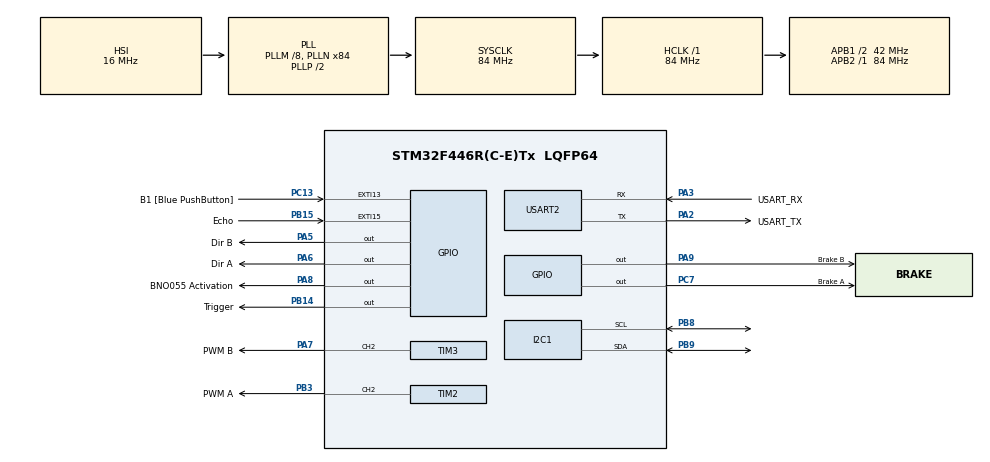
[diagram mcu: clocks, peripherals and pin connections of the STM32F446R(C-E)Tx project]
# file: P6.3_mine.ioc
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Mcu.Family=STM32F4
Mcu.Name=STM32F446R(C-E)Tx
Mcu.Package=LQFP64
NVIC.EXTI15_10_IRQn=true\:0\:0\:false\:false\:true\:true\:true\:true
NVIC.PriorityGroup=NVIC_PRIORITYGROUP_0
NVIC.TIM7_IRQn=true\:0\:0\:false\:false\:true\:true\:true\:true
PA13.GPIO_Label=TMS
PA13.Mode=Serial_Wire
PA13.Signal=SYS_JTMS-SWDIO
PA14.GPIO_Label=TCK
PA14.Mode=Serial_Wire
PA14.Signal=SYS_JTCK-SWCLK
PA2.GPIO_Label=USART_TX
PA2.Mode=Asynchronous
PA2.Signal=USART2_TX
PA3.GPIO_Label=USART_RX
PA3.Mode=Asynchronous
PA3.Signal=USART2_RX
PA5.GPIO_Label=Dir B
PA5.GPIO_Speed=GPIO_SPEED_FREQ_HIGH
PA5.PinState=GPIO_PIN_RESET
PA5.Signal=GPIO_Output
PA6.GPIO_Label=Dir A
PA6.GPIO_Speed=GPIO_SPEED_FREQ_HIGH
PA6.Signal=GPIO_Output
PA7.GPIO_Label=PWM B
PA7.Signal=S_TIM3_CH2
PA8.GPIO_Label=BNO055 Activation
PA8.Signal=GPIO_Output
PA9.GPIO_Label=Brake B
PA9.Signal=GPIO_Output
PB14.GPIO_Label=Trigger
PB14.Signal=GPIO_Output
PB15.GPIO_Label=Echo
PB15.GPIO_ModeDefaultEXTI=GPIO_MODE_IT_RISING_FALLING
PB15.Signal=GPXTI15
PB3.GPIO_Label=PWM A
PB3.Signal=S_TIM2_CH2
PB8.Mode=I2C
PB8.Signal=I2C1_SCL
PB9.Mode=I2C
PB9.Signal=I2C1_SDA
PC13.GPIO_Label=B1 [Blue PushButton]
PC13.GPIO_ModeDefaultEXTI=GPIO_MODE_IT_FALLING
PC13.Signal=GPXTI13
PC14-OSC32_IN.Mode=LSE-External-Oscillator
PC14-OSC32_IN.Signal=RCC_OSC32_IN
PC15-OSC32_OUT.Mode=LSE-External-Oscillator
PC15-OSC32_OUT.Signal=RCC_OSC32_OUT
PC7.GPIO_Label=Brake A
PC7.GPIO_Speed=GPIO_SPEED_FREQ_HIGH
PC7.Signal=GPIO_Output
PH0-OSC_IN.Mode=HSE-External-Oscillator
PH0-OSC_IN.Signal=RCC_OSC_IN
PH1-OSC_OUT.Mode=HSE-External-Oscillator
PH1-OSC_OUT.Signal=RCC_OSC_OUT
ProjectManager.HeapSize=0x200
ProjectManager.StackSize=0x400
ProjectManager.TargetToolchain=STM32CubeIDE
RCC.48MHZClocksFreq_Value=84000000
RCC.AHBFreq_Value=84000000
RCC.APB1CLKDivider=RCC_HCLK_DIV2
RCC.APB1Freq_Value=42000000
RCC.APB1TimFreq_Value=84000000
RCC.APB2Freq_Value=84000000
RCC.APB2TimFreq_Value=84000000
RCC.CortexFreq_Value=84000000
RCC.FLatency-AdvancedSettings=FLASH_LATENCY_2
RCC.HCLKFreq_Value=84000000
RCC.HSE_VALUE=8000000
RCC.HSI_VALUE=16000000
RCC.PLLM=8
RCC.PLLN=84
RCC.SYSCLKFreq_VALUE=84000000
RCC.SYSCLKSource=RCC_SYSCLKSOURCE_PLLCLK
RCC.USBFreq_Value=84000000
RCC.VCOOutputFreq_Value=168000000
SH.S_TIM2_CH2.0=TIM2_CH2,PWM Generation2 CH2
SH.S_TIM3_CH2.0=TIM3_CH2,PWM Generation2 CH2
TIM10.Period=65535
TIM10.Prescaler=83
TIM2.Channel-PWM\ Generation2\ CH2=TIM_CHANNEL_2
TIM2.Period=255
TIM2.Prescaler=83
TIM2.Pulse-PWM\ Generation2\ CH2=200
TIM3.Channel-PWM\ Generation2\ CH2=TIM_CHANNEL_2
TIM3.Period=255
TIM3.Prescaler=83
TIM3.Pulse-PWM\ Generation2\ CH2=200
TIM6.Prescaler=83
TIM7.Period=999
TIM7.Prescaler=8399
USART2.VirtualMode=VM_ASYNC
VP_TIM10_VS_ClockSourceINT.Mode=Enable_Timer
VP_TIM6_VS_ClockSourceINT.Mode=Enable_Timer
VP_TIM7_VS_ClockSourceINT.Mode=Enable_Timer
board=NUCLEO-F446RE

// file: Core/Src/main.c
/* USER CODE BEGIN Header */
/**
 ******************************************************************************
 * @file           : main.c
 * @brief          : Main program body
 ******************************************************************************
 * @attention
 *
 * Copyright (c) 2025 STMicroelectronics.
 * All rights reserved.
 *
 * This software is licensed under terms that can be found in the LICENSE file
 * in the root directory of this software component.
 * If no LICENSE file comes with this software, it is provided AS-IS.
 *
 ******************************************************************************
 */
/* USER CODE END Header */
#include "main.h"

/* USER CODE BEGIN Includes */
#include "gyro.h"
#include "motor.h"
#include "movement.h"
#include <stdio.h>
#include <stdbool.h>
/* USER CODE END Includes */

I2C_HandleTypeDef hi2c1;

TIM_HandleTypeDef htim2;
TIM_HandleTypeDef htim3;
TIM_HandleTypeDef htim6;
TIM_HandleTypeDef htim7;
TIM_HandleTypeDef htim10;

UART_HandleTypeDef huart2;

/* USER CODE BEGIN PV */
volatile uint32_t echo_start = 0;
volatile uint32_t echo_end = 0;
volatile uint32_t echo_duration = 0;
volatile uint8_t state = straight;
uint32_t trigger_time = 0;
float yaw_offset = 0;
Motor buggy;
IMU_Handle_t imu_handle;
uint8_t message[60] = { '\0' };

/* USER CODE END PV */

void SystemClock_Config(void);
static void MX_GPIO_Init(void);
static void MX_USART2_UART_Init(void);
static void MX_I2C1_Init(void);
static void MX_TIM2_Init(void);
static void MX_TIM3_Init(void);
static void MX_TIM10_Init(void);
static void MX_TIM6_Init(void);
static void MX_TIM7_Init(void);

int main(void)
{

  /* MCU Configuration--------------------------------------------------------*/

  /* Reset of all peripherals, Initializes the Flash interface and the Systick. */
  HAL_Init();

  /* Configure the system clock */
  SystemClock_Config();

  /* Initialize all configured peripherals */
  MX_GPIO_Init();
  MX_USART2_UART_Init();
  MX_I2C1_Init();
  MX_TIM2_Init();
  MX_TIM3_Init();
  MX_TIM10_Init();
  MX_TIM6_Init();
  MX_TIM7_Init();
  /* USER CODE BEGIN 2 */

	/*
	 * IMU_Handle
	 * _________________
	 *
	 * Our IMU Handle contains
	 * • I2C_Handle_t i2c_connect 		-	For establishing BNO055 board connection
	 * • GPIO_Handle_t activation_pin	-	Activation Pin sets the BNO055 sensor active
	 * • IMU_Config_t imu_config		-	The configuration for setting BNO055 to IMU mode
	 *
	 * */
	imuInit(&imu_handle);

	/*
	 * Calibration
	 * _______________
	 *
	 * As far as I have understood calibrat
	 *
	 * */
	uint8_t cal_status = 0;
	uint8_t cal_attempts = 0;

	//Buggy configuration
	AutoConf(&buggy);
	Brake(&buggy);
	HAL_TIM_PWM_Start(&htim2, TIM_CHANNEL_2); // PA3
	HAL_TIM_PWM_Start(&htim3, TIM_CHANNEL_2); // PA7

	//BNO055 Initialization
	bno055_init(&imu_handle);

	uint8_t chip_id = 0;
	bno055_readData(&imu_handle.i2c_connect, BNO055_CHIP_ID_REG, &chip_id, 1);
	if(chip_id != BNO055_CHIP_ID_VAL) {
		sprintf(message, "BNO055 not found! ID: 0x%02X\r\n", chip_id);
		HAL_UART_Transmit(&huart2, message, strlen(message), 100);
		Error_Handler();
	} else {
		sprintf(message, "BNO055 detected! ID: 0xA0\r\n");
		HAL_UART_Transmit(&huart2, message, strlen(message), 100);
	}

	//WIR MUESSEN ERSTMAL BIS HIER KOMMEN ... !
	//Geschafft - problem: activation pin war nicht eingestellt in IOC

	/*
	 * Sensor Calibration
	 * ___________________
	 *
	 * • This loop runs until each sensor is calibrated.
	 * • A sensor in the calibration register takes two bits.
	 * • A sensor is calibrated when value is "0b11"
	 * • Calibration values can change during runtime
	 * •
	 */

	/*
	 * Depending upon mode (IMU OR NDOF) we should check CALIB_STAT register
	 * accordingly.
	 *
	 * • If mode is NDOF, then we need cal_status 0xFF
	 * • If mode is IMU, then we need cal_status 0x3C
	 *
	 * For now I will hardcore for IMU mode
	 * */
	/*
	while(cal_status != 0x3c) {	// you can add " && cal_attempts++ < 20" for timeout
		cal_status = getCal(&imu_handle);
		sprintf(message, "Calibration: Sys=%d G=%d A=%d M=%d\r\n",
				(cal_status >> 6) & 0x03,  // System
				(cal_status >> 4) & 0x03,  // Gyro
				(cal_status >> 2) & 0x03,  // Accel
				cal_status & 0x03);        // Mag
		HAL_UART_Transmit(&huart2, message, strlen(message), 100);
		HAL_Delay(500);
	}

	sprintf(message, "Calibrated");
	HAL_UART_Transmit(&huart2, message, strlen(message), 100);
	*/

	//DELAY BEFORE AUTO INIT
	HAL_Delay(10000);

	//Buggy initialization
	AutoInit(&buggy);

	//Print initial yaw offset which is actually supposed to be 0°
	sprintf(message, "init yaw offset: %.1f", yaw_offset);
	HAL_UART_Transmit(&huart2, message, sizeof(message), 100);
	HAL_Delay(1000);

	//Initialize Ultrasonic Trigger Pin to LOW and release buggy
	HAL_GPIO_WritePin(Trigger_GPIO_Port, Trigger_Pin, GPIO_PIN_RESET);
	Release(&buggy);

	HAL_TIM_Base_Start_IT(&htim7);	//uncomment !
  /* USER CODE END 2 */

  /* Infinite loop */
  /* USER CODE BEGIN WHILE */
	while (1) {

		/*
		 * P6.1	-	Drive Straight
		 * */
		//DriveStraight(10000);

		/*
		 * P6.2	-	Drive Rectangle
		 * */
		//DriveRectangle();

		/*
		 * P6.3	-	Maneuver state machine
		*/
		switch (state) {
		case straight:
			if (htim7.State != HAL_TIM_STATE_BUSY) {
				Release(&buggy);	//might have to remove line
				HAL_TIM_Base_Start_IT(&htim7);
			}
			UpdateDirection(&buggy);
			HAL_Delay(50);
			break;

		case wait_for_echo_high:
		case wait_for_echo_low:
			if(HAL_GetTick() - trigger_time > 100){
				state = straight;
			}
			break;

		case measurement_done:
			echo_duration = echo_end - echo_start;
			float distance = (echo_duration * 0.0343f) / 2.0f;
			if (distance < 30.0f) {
				Brake(&buggy);
				state = maneuver;
			}
			else { state = straight; }
			break;

		case maneuver:
			TurnRight90();
			yaw_offset += 90;
			DriveStraight(3000);
			TurnLeft90();
			yaw_offset -= 90;
			HAL_TIM_Base_Start_IT(&htim7);
			HAL_Delay(100);
			//Release(&buggy);
			state = straight;
			break;
		}

    /* USER CODE END WHILE */

	}
}

void SystemClock_Config(void)
{
  RCC_OscInitTypeDef RCC_OscInitStruct = {0};
  RCC_ClkInitTypeDef RCC_ClkInitStruct = {0};

  /** Configure the main internal regulator output voltage
  */
  __HAL_RCC_PWR_CLK_ENABLE();
  __HAL_PWR_VOLTAGESCALING_CONFIG(PWR_REGULATOR_VOLTAGE_SCALE3);

  /** Initializes the RCC Oscillators according to the specified parameters
  * in the RCC_OscInitTypeDef structure.
  */
  RCC_OscInitStruct.OscillatorType = RCC_OSCILLATORTYPE_HSI;
  RCC_OscInitStruct.HSIState = RCC_HSI_ON;
  RCC_OscInitStruct.HSICalibrationValue = RCC_HSICALIBRATION_DEFAULT;
  RCC_OscInitStruct.PLL.PLLState = RCC_PLL_ON;
  RCC_OscInitStruct.PLL.PLLSource = RCC_PLLSOURCE_HSI;
  RCC_OscInitStruct.PLL.PLLM = 8;
  RCC_OscInitStruct.PLL.PLLN = 84;
  RCC_OscInitStruct.PLL.PLLP = RCC_PLLP_DIV2;
  RCC_OscInitStruct.PLL.PLLQ = 2;
  RCC_OscInitStruct.PLL.PLLR = 2;
  if (HAL_RCC_OscConfig(&RCC_OscInitStruct) != HAL_OK)
  {
    Error_Handler();
  }

  /** Initializes the CPU, AHB and APB buses clocks
  */
  RCC_ClkInitStruct.ClockType = RCC_CLOCKTYPE_HCLK|RCC_CLOCKTYPE_SYSCLK
                              |RCC_CLOCKTYPE_PCLK1|RCC_CLOCKTYPE_PCLK2;
  RCC_ClkInitStruct.SYSCLKSource = RCC_SYSCLKSOURCE_PLLCLK;
  RCC_ClkInitStruct.AHBCLKDivider = RCC_SYSCLK_DIV1;
  RCC_ClkInitStruct.APB1CLKDivider = RCC_HCLK_DIV2;
  RCC_ClkInitStruct.APB2CLKDivider = RCC_HCLK_DIV1;

  if (HAL_RCC_ClockConfig(&RCC_ClkInitStruct, FLASH_LATENCY_2) != HAL_OK)
  {
    Error_Handler();
  }
}

static void MX_I2C1_Init(void)
{

  hi2c1.Instance = I2C1;
  hi2c1.Init.ClockSpeed = 100000;
  hi2c1.Init.DutyCycle = I2C_DUTYCYCLE_2;
  hi2c1.Init.OwnAddress1 = 0;
  hi2c1.Init.AddressingMode = I2C_ADDRESSINGMODE_7BIT;
  hi2c1.Init.DualAddressMode = I2C_DUALADDRESS_DISABLE;
  hi2c1.Init.OwnAddress2 = 0;
  hi2c1.Init.GeneralCallMode = I2C_GENERALCALL_DISABLE;
  hi2c1.Init.NoStretchMode = I2C_NOSTRETCH_DISABLE;
  if (HAL_I2C_Init(&hi2c1) != HAL_OK)
  {
    Error_Handler();
  }

}

static void MX_TIM2_Init(void)
{

  TIM_MasterConfigTypeDef sMasterConfig = {0};
  TIM_OC_InitTypeDef sConfigOC = {0};

  htim2.Instance = TIM2;
  htim2.Init.Prescaler = 83;
  htim2.Init.CounterMode = TIM_COUNTERMODE_UP;
  htim2.Init.Period = 255;
  htim2.Init.ClockDivision = TIM_CLOCKDIVISION_DIV1;
  htim2.Init.AutoReloadPreload = TIM_AUTORELOAD_PRELOAD_DISABLE;
  if (HAL_TIM_PWM_Init(&htim2) != HAL_OK)
  {
    Error_Handler();
  }
  sMasterConfig.MasterOutputTrigger = TIM_TRGO_RESET;
  sMasterConfig.MasterSlaveMode = TIM_MASTERSLAVEMODE_DISABLE;
  if (HAL_TIMEx_MasterConfigSynchronization(&htim2, &sMasterConfig) != HAL_OK)
  {
    Error_Handler();
  }
  sConfigOC.OCMode = TIM_OCMODE_PWM1;
  sConfigOC.Pulse = 200;
  sConfigOC.OCPolarity = TIM_OCPOLARITY_HIGH;
  sConfigOC.OCFastMode = TIM_OCFAST_DISABLE;
  if (HAL_TIM_PWM_ConfigChannel(&htim2, &sConfigOC, TIM_CHANNEL_2) != HAL_OK)
  {
    Error_Handler();
  }
  HAL_TIM_MspPostInit(&htim2);

}

static void MX_TIM3_Init(void)
{

  TIM_MasterConfigTypeDef sMasterConfig = {0};
  TIM_OC_InitTypeDef sConfigOC = {0};

  htim3.Instance = TIM3;
  htim3.Init.Prescaler = 83;
  htim3.Init.CounterMode = TIM_COUNTERMODE_UP;
  htim3.Init.Period = 255;
  htim3.Init.ClockDivision = TIM_CLOCKDIVISION_DIV1;
  htim3.Init.AutoReloadPreload = TIM_AUTORELOAD_PRELOAD_DISABLE;
  if (HAL_TIM_PWM_Init(&htim3) != HAL_OK)
  {
    Error_Handler();
  }
  sMasterConfig.MasterOutputTrigger = TIM_TRGO_RESET;
  sMasterConfig.MasterSlaveMode = TIM_MASTERSLAVEMODE_DISABLE;
  if (HAL_TIMEx_MasterConfigSynchronization(&htim3, &sMasterConfig) != HAL_OK)
  {
    Error_Handler();
  }
  sConfigOC.OCMode = TIM_OCMODE_PWM1;
  sConfigOC.Pulse = 200;
  sConfigOC.OCPolarity = TIM_OCPOLARITY_HIGH;
  sConfigOC.OCFastMode = TIM_OCFAST_DISABLE;
  if (HAL_TIM_PWM_ConfigChannel(&htim3, &sConfigOC, TIM_CHANNEL_2) != HAL_OK)
  {
    Error_Handler();
  }
  HAL_TIM_MspPostInit(&htim3);

}

static void MX_TIM6_Init(void)
{

  TIM_MasterConfigTypeDef sMasterConfig = {0};

  htim6.Instance = TIM6;
  htim6.Init.Prescaler = 83;
  htim6.Init.CounterMode = TIM_COUNTERMODE_UP;
  htim6.Init.Period = 65535;
  htim6.Init.AutoReloadPreload = TIM_AUTORELOAD_PRELOAD_DISABLE;
  if (HAL_TIM_Base_Init(&htim6) != HAL_OK)
  {
    Error_Handler();
  }
  sMasterConfig.MasterOutputTrigger = TIM_TRGO_RESET;
  sMasterConfig.MasterSlaveMode = TIM_MASTERSLAVEMODE_DISABLE;
  if (HAL_TIMEx_MasterConfigSynchronization(&htim6, &sMasterConfig) != HAL_OK)
  {
    Error_Handler();
  }

}

static void MX_TIM7_Init(void)
{

  TIM_MasterConfigTypeDef sMasterConfig = {0};

  htim7.Instance = TIM7;
  htim7.Init.Prescaler = 8399;
  htim7.Init.CounterMode = TIM_COUNTERMODE_UP;
  htim7.Init.Period = 999;
  htim7.Init.AutoReloadPreload = TIM_AUTORELOAD_PRELOAD_DISABLE;
  if (HAL_TIM_Base_Init(&htim7) != HAL_OK)
  {
    Error_Handler();
  }
  sMasterConfig.MasterOutputTrigger = TIM_TRGO_RESET;
  sMasterConfig.MasterSlaveMode = TIM_MASTERSLAVEMODE_DISABLE;
  if (HAL_TIMEx_MasterConfigSynchronization(&htim7, &sMasterConfig) != HAL_OK)
  {
    Error_Handler();
  }

}

static void MX_TIM10_Init(void)
{

  htim10.Instance = TIM10;
  htim10.Init.Prescaler = 83;
  htim10.Init.CounterMode = TIM_COUNTERMODE_UP;
  htim10.Init.Period = 65535;
  htim10.Init.ClockDivision = TIM_CLOCKDIVISION_DIV1;
  htim10.Init.AutoReloadPreload = TIM_AUTORELOAD_PRELOAD_DISABLE;
  if (HAL_TIM_Base_Init(&htim10) != HAL_OK)
  {
    Error_Handler();
  }

}

static void MX_USART2_UART_Init(void)
{

  huart2.Instance = USART2;
  huart2.Init.BaudRate = 115200;
  huart2.Init.WordLength = UART_WORDLENGTH_8B;
  huart2.Init.StopBits = UART_STOPBITS_1;
  huart2.Init.Parity = UART_PARITY_NONE;
  huart2.Init.Mode = UART_MODE_TX_RX;
  huart2.Init.HwFlowCtl = UART_HWCONTROL_NONE;
  huart2.Init.OverSampling = UART_OVERSAMPLING_16;
  if (HAL_UART_Init(&huart2) != HAL_OK)
  {
    Error_Handler();
  }

}

static void MX_GPIO_Init(void)
{
  GPIO_InitTypeDef GPIO_InitStruct = {0};

  /* GPIO Ports Clock Enable */
  __HAL_RCC_GPIOC_CLK_ENABLE();
  __HAL_RCC_GPIOH_CLK_ENABLE();
  __HAL_RCC_GPIOA_CLK_ENABLE();
  __HAL_RCC_GPIOB_CLK_ENABLE();

  /*Configure GPIO pin Output Level */
  HAL_GPIO_WritePin(GPIOA, Dir_B_Pin|Dir_A_Pin|BNO055_Activation_Pin|Brake_B_Pin, GPIO_PIN_RESET);

  /*Configure GPIO pin Output Level */
  HAL_GPIO_WritePin(Trigger_GPIO_Port, Trigger_Pin, GPIO_PIN_RESET);

  /*Configure GPIO pin Output Level */
  HAL_GPIO_WritePin(Brake_A_GPIO_Port, Brake_A_Pin, GPIO_PIN_RESET);

  /*Configure GPIO pin : B1_Pin */
  GPIO_InitStruct.Pin = B1_Pin;
  GPIO_InitStruct.Mode = GPIO_MODE_IT_FALLING;
  GPIO_InitStruct.Pull = GPIO_NOPULL;
  HAL_GPIO_Init(B1_GPIO_Port, &GPIO_InitStruct);

  /*Configure GPIO pins : Dir_B_Pin Dir_A_Pin */
  GPIO_InitStruct.Pin = Dir_B_Pin|Dir_A_Pin;
  GPIO_InitStruct.Mode = GPIO_MODE_OUTPUT_PP;
  GPIO_InitStruct.Pull = GPIO_NOPULL;
  GPIO_InitStruct.Speed = GPIO_SPEED_FREQ_HIGH;
  HAL_GPIO_Init(GPIOA, &GPIO_InitStruct);

  /*Configure GPIO pin : Trigger_Pin */
  GPIO_InitStruct.Pin = Trigger_Pin;
  GPIO_InitStruct.Mode = GPIO_MODE_OUTPUT_PP;
  GPIO_InitStruct.Pull = GPIO_NOPULL;
  GPIO_InitStruct.Speed = GPIO_SPEED_FREQ_LOW;
  HAL_GPIO_Init(Trigger_GPIO_Port, &GPIO_InitStruct);

  /*Configure GPIO pin : Echo_Pin */
  GPIO_InitStruct.Pin = Echo_Pin;
  GPIO_InitStruct.Mode = GPIO_MODE_IT_RISING_FALLING;
  GPIO_InitStruct.Pull = GPIO_NOPULL;
  HAL_GPIO_Init(Echo_GPIO_Port, &GPIO_InitStruct);

  /*Configure GPIO pin : Brake_A_Pin */
  GPIO_InitStruct.Pin = Brake_A_Pin;
  GPIO_InitStruct.Mode = GPIO_MODE_OUTPUT_PP;
  GPIO_InitStruct.Pull = GPIO_NOPULL;
  GPIO_InitStruct.Speed = GPIO_SPEED_FREQ_HIGH;
  HAL_GPIO_Init(Brake_A_GPIO_Port, &GPIO_InitStruct);

  /*Configure GPIO pins : BNO055_Activation_Pin Brake_B_Pin */
  GPIO_InitStruct.Pin = BNO055_Activation_Pin|Brake_B_Pin;
  GPIO_InitStruct.Mode = GPIO_MODE_OUTPUT_PP;
  GPIO_InitStruct.Pull = GPIO_NOPULL;
  GPIO_InitStruct.Speed = GPIO_SPEED_FREQ_LOW;
  HAL_GPIO_Init(GPIOA, &GPIO_InitStruct);

  /* EXTI interrupt init*/
  HAL_NVIC_SetPriority(EXTI15_10_IRQn, 0, 0);
  HAL_NVIC_EnableIRQ(EXTI15_10_IRQn);

}

void Error_Handler(void)
{
	__disable_irq();
	while (1) {
	}
}
